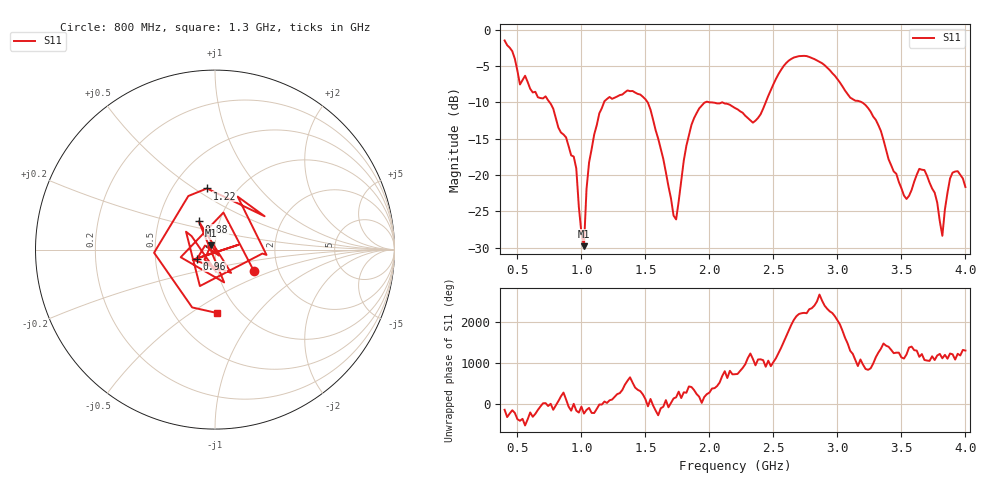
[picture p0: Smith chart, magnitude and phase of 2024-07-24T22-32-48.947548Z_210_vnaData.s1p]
!Created with skrf (http://scikit-rf.org).
# Hz S RI R 50.0
!freq ReS11 ImS11
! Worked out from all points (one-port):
!   181 points, 400 MHz to 4 GHz, reference 50 ohm
!   lowest |S11| = -29.8 dB at 1.02 GHz (marker M1), VSWR 1.07, Z = 47.7 + j2.2 ohm
!   |S11| at or under -10 dB: 1.517 GHz to 1.97 GHz (452.8 MHz wide, 26 % of centre); 1.997 GHz to 2.44 GHz (442.7 MHz wide, 20 % of centre); 3.189 GHz to end of sweep (the widest 3 of 4)
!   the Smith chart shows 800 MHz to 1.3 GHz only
!   S11 on the Smith chart (normalised r, x): 800 MHz: 1.49, -0.38; 880 MHz: 0.80, +0.26; 960 MHz: 0.82, -0.08; 1.22 GHz: 0.73, +0.56; 1.3 GHz: 0.80, -0.64
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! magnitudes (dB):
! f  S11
! 400 MHz  -1.5
! 520 MHz  -7.6
! 800 MHz  -12.2
! 860 MHz  -14.4
! 880 MHz  -14.8
! 960 MHz  -19.1
! 1.02 GHz  -29.8
! 1.04 GHz  -21.9
! 1.06 GHz  -18.3
! 1.14 GHz  -11.5
! 1.22 GHz  -9.3
! 1.3 GHz  -9.0
! 1.52 GHz  -10.1
! 1.72 GHz  -25.6
! 1.76 GHz  -23.6
! 1.82 GHz  -16.0
! 1.92 GHz  -10.9
! 2.2 GHz  -10.8
! 2.36 GHz  -12.5
! 2.66 GHz  -3.8
! 3.1 GHz  -9.4
! 3.3 GHz  -12.4
! 3.56 GHz  -22.9
! 3.68 GHz  -19.3
! 3.76 GHz  -22.4
! 3.82 GHz  -28.4
! 3.9 GHz  -19.7
! 4 GHz  -21.7
